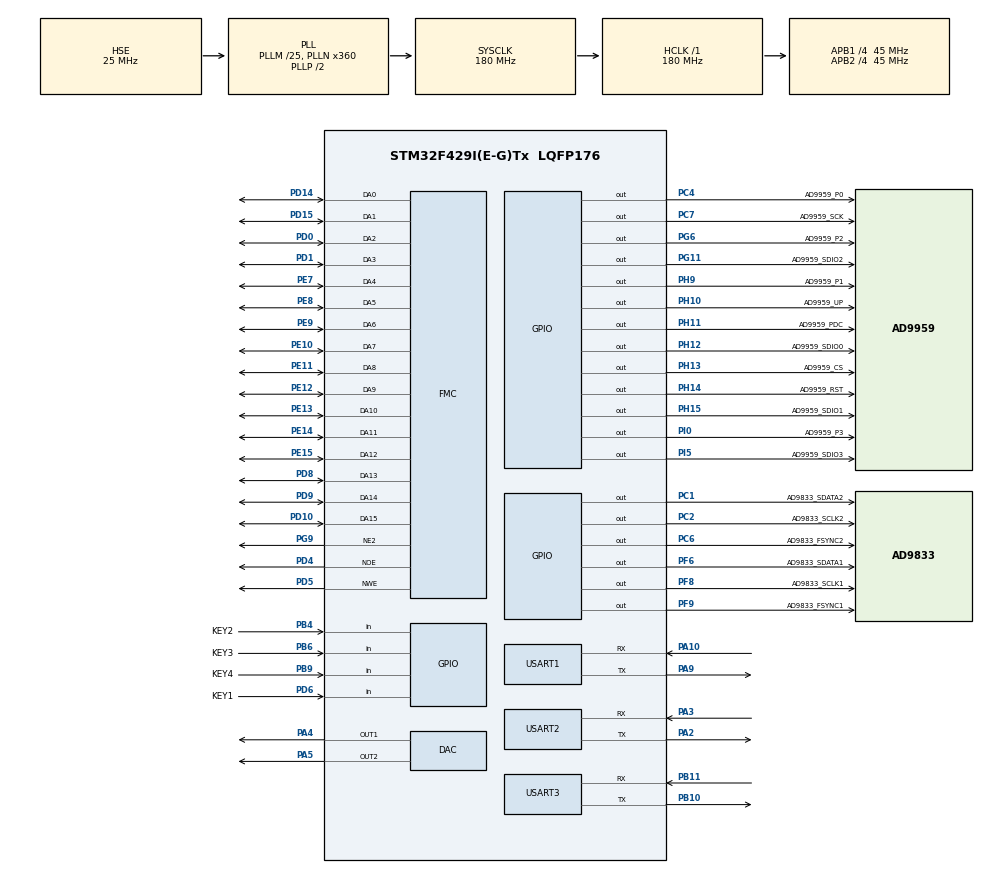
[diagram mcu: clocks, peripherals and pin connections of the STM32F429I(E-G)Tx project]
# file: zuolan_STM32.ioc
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DAC.DAC_OutputBuffer=DAC_OUTPUTBUFFER_ENABLE
DAC.DAC_OutputBuffer2=DAC_OUTPUTBUFFER_ENABLE
FMC.AddressHoldTime2=1
FMC.AddressSetupTime2=3
FMC.BusTurnAroundDuration2=0
FMC.DataSetupTime2=6
FMC.WriteOperation2=FMC_WRITE_OPERATION_ENABLE
Mcu.Family=STM32F4
Mcu.Name=STM32F429I(E-G)Tx
Mcu.Package=LQFP176
NVIC.PriorityGroup=NVIC_PRIORITYGROUP_4
NVIC.USART1_IRQn=true\:0\:0\:false\:false\:true\:true\:true\:true
NVIC.USART2_IRQn=true\:0\:0\:false\:false\:true\:true\:true\:true
NVIC.USART3_IRQn=true\:0\:0\:false\:false\:true\:true\:true\:true
PA10.Mode=Asynchronous
PA10.Signal=USART1_RX
PA13.Mode=Serial_Wire
PA13.Signal=SYS_JTMS-SWDIO
PA14.Mode=Serial_Wire
PA14.Signal=SYS_JTCK-SWCLK
PA2.Mode=Asynchronous
PA2.Signal=USART2_TX
PA3.Mode=Asynchronous
PA3.Signal=USART2_RX
PA4.Signal=COMP_DAC1_group
PA5.Signal=COMP_DAC2_group
PA9.Mode=Asynchronous
PA9.Signal=USART1_TX
PB10.Mode=Asynchronous
PB10.Signal=USART3_TX
PB11.Mode=Asynchronous
PB11.Signal=USART3_RX
PB4.GPIO_Label=KEY2
PB4.GPIO_PuPd=GPIO_PULLUP
PB4.Signal=GPIO_Input
PB6.GPIO_Label=KEY3
PB6.GPIO_PuPd=GPIO_PULLUP
PB6.Signal=GPIO_Input
PB7.Signal=FMC_NL
PB9.GPIO_Label=KEY4
PB9.GPIO_PuPd=GPIO_PULLUP
PB9.Signal=GPIO_Input
PC1.GPIO_Label=AD9833_SDATA2
PC1.Signal=GPIO_Output
PC2.GPIO_Label=AD9833_SCLK2
PC2.Signal=GPIO_Output
PC4.GPIO_Label=AD9959_P0
PC4.GPIO_PuPd=GPIO_PULLUP
PC4.GPIO_Speed=GPIO_SPEED_FREQ_HIGH
PC4.Signal=GPIO_Output
PC6.GPIO_Label=AD9833_FSYNC2
PC6.Signal=GPIO_Output
PC7.GPIO_Label=AD9959_SCK
PC7.GPIO_PuPd=GPIO_PULLUP
PC7.GPIO_Speed=GPIO_SPEED_FREQ_HIGH
PC7.Signal=GPIO_Output
PD0.Signal=FMC_D2_DA2
PD1.Signal=FMC_D3_DA3
PD10.Signal=FMC_D15_DA15
PD14.Signal=FMC_D0_DA0
PD15.Signal=FMC_D1_DA1
PD4.Signal=FMC_NOE
PD5.Signal=FMC_NWE
PD6.GPIO_Label=KEY1
PD6.GPIO_PuPd=GPIO_PULLUP
PD6.Signal=GPIO_Input
PD8.Signal=FMC_D13_DA13
PD9.Signal=FMC_D14_DA14
PE10.Signal=FMC_D7_DA7
PE11.Signal=FMC_D8_DA8
PE12.Signal=FMC_D9_DA9
PE13.Signal=FMC_D10_DA10
PE14.Signal=FMC_D11_DA11
PE15.Signal=FMC_D12_DA12
PE7.Signal=FMC_D4_DA4
PE8.Signal=FMC_D5_DA5
PE9.Signal=FMC_D6_DA6
PF6.GPIO_Label=AD9833_SDATA1
PF6.Signal=GPIO_Output
PF8.GPIO_Label=AD9833_SCLK1
PF8.Signal=GPIO_Output
PF9.GPIO_Label=AD9833_FSYNC1
PF9.Signal=GPIO_Output
PG11.GPIO_Label=AD9959_SDIO2
PG11.GPIO_PuPd=GPIO_PULLUP
PG11.GPIO_Speed=GPIO_SPEED_FREQ_HIGH
PG11.Signal=GPIO_Output
PG6.GPIO_Label=AD9959_P2
PG6.GPIO_PuPd=GPIO_PULLUP
PG6.GPIO_Speed=GPIO_SPEED_FREQ_HIGH
PG6.Signal=GPIO_Output
PG9.Mode=NorPsramChipSelect2_2
PG9.Signal=FMC_NE2
PH0/OSC_IN.Mode=HSE-External-Oscillator
PH0/OSC_IN.Signal=RCC_OSC_IN
PH1/OSC_OUT.Mode=HSE-External-Oscillator
PH1/OSC_OUT.Signal=RCC_OSC_OUT
PH10.GPIO_Label=AD9959_UP
PH10.GPIO_PuPd=GPIO_PULLUP
PH10.GPIO_Speed=GPIO_SPEED_FREQ_HIGH
PH10.Signal=GPIO_Output
PH11.GPIO_Label=AD9959_PDC
PH11.GPIO_PuPd=GPIO_PULLUP
PH11.GPIO_Speed=GPIO_SPEED_FREQ_HIGH
PH11.Signal=GPIO_Output
PH12.GPIO_Label=AD9959_SDIO0
PH12.GPIO_PuPd=GPIO_PULLUP
PH12.GPIO_Speed=GPIO_SPEED_FREQ_HIGH
PH12.Signal=GPIO_Output
PH13.GPIO_Label=AD9959_CS
PH13.GPIO_ModeDefaultOutputPP=GPIO_MODE_OUTPUT_PP
PH13.GPIO_PuPd=GPIO_PULLUP
PH13.GPIO_Speed=GPIO_SPEED_FREQ_HIGH
PH13.PinState=GPIO_PIN_RESET
PH13.Signal=GPIO_Output
PH14.GPIO_Label=AD9959_RST
PH14.GPIO_PuPd=GPIO_PULLUP
PH14.GPIO_Speed=GPIO_SPEED_FREQ_HIGH
PH14.Signal=GPIO_Output
PH15.GPIO_Label=AD9959_SDIO1
PH15.GPIO_PuPd=GPIO_PULLUP
PH15.GPIO_Speed=GPIO_SPEED_FREQ_HIGH
PH15.Signal=GPIO_Output
PH9.GPIO_Label=AD9959_P1
PH9.GPIO_PuPd=GPIO_PULLUP
PH9.GPIO_Speed=GPIO_SPEED_FREQ_HIGH
PH9.Signal=GPIO_Output
PI0.GPIO_Label=AD9959_P3
PI0.GPIO_PuPd=GPIO_PULLUP
PI0.GPIO_Speed=GPIO_SPEED_FREQ_HIGH
PI0.Signal=GPIO_Output
PI5.GPIO_Label=AD9959_SDIO3
PI5.GPIO_PuPd=GPIO_PULLUP
PI5.GPIO_Speed=GPIO_SPEED_FREQ_HIGH
PI5.Signal=GPIO_Output
ProjectManager.HeapSize=0x200
ProjectManager.StackSize=0x400
ProjectManager.TargetToolchain=MDK-ARM V5
RCC.48MHZClocksFreq_Value=90000000
RCC.AHBFreq_Value=180000000
RCC.APB1CLKDivider=RCC_HCLK_DIV4
RCC.APB1Freq_Value=45000000
RCC.APB1TimFreq_Value=90000000
RCC.APB2CLKDivider=RCC_HCLK_DIV4
RCC.APB2Freq_Value=45000000
RCC.APB2TimFreq_Value=90000000
RCC.CortexFreq_Value=180000000
RCC.EnbaleCSS=true
RCC.HCLKFreq_Value=180000000
RCC.HSE_VALUE=25000000
RCC.HSI_VALUE=16000000
RCC.LSE_VALUE=32768
RCC.PLLM=25
RCC.PLLN=360
RCC.PLLSourceVirtual=RCC_PLLSOURCE_HSE
RCC.SYSCLKFreq_VALUE=180000000
RCC.SYSCLKSource=RCC_SYSCLKSOURCE_PLLCLK
RCC.VCOOutputFreq_Value=360000000
SH.COMP_DAC1_group.0=DAC_OUT1,DAC_OUT1
SH.COMP_DAC2_group.0=DAC_OUT2,DAC_OUT2
SH.FMC_D0_DA0.0=FMC_DA0,16b-da2
SH.FMC_D10_DA10.0=FMC_DA10,16b-da2
SH.FMC_D11_DA11.0=FMC_DA11,16b-da2
SH.FMC_D12_DA12.0=FMC_DA12,16b-da2
SH.FMC_D13_DA13.0=FMC_DA13,16b-da2
SH.FMC_D14_DA14.0=FMC_DA14,16b-da2
SH.FMC_D15_DA15.0=FMC_DA15,16b-da2
SH.FMC_D1_DA1.0=FMC_DA1,16b-da2
SH.FMC_D2_DA2.0=FMC_DA2,16b-da2
SH.FMC_D3_DA3.0=FMC_DA3,16b-da2
SH.FMC_D4_DA4.0=FMC_DA4,16b-da2
SH.FMC_D5_DA5.0=FMC_DA5,16b-da2
SH.FMC_D6_DA6.0=FMC_DA6,16b-da2
SH.FMC_D7_DA7.0=FMC_DA7,16b-da2
SH.FMC_D8_DA8.0=FMC_DA8,16b-da2
SH.FMC_D9_DA9.0=FMC_DA9,16b-da2
SH.FMC_NL.0=FMC_NL
SH.FMC_NOE.0=FMC_NOE,MuxedPsram2
SH.FMC_NWE.0=FMC_NWE,MuxedPsram2
STMicroelectronics.X-CUBE-ALGOBUILD.1.4.0.LibraryCcDSPOoLibraryJjDSPOoLibrary=true
USART1.VirtualMode=VM_ASYNC
USART2.VirtualMode=VM_ASYNC
USART3.VirtualMode=VM_ASYNC
VP_STMicroelectronics.X-CUBE-ALGOBUILD_VS_DSPOoLibraryJjLibrary_1.4.0_1.4.0.Mode=DSPOoLibraryJjLibrary
board=custom

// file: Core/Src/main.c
/* USER CODE BEGIN Header */
/**
 ******************************************************************************
 * @file           : main.c
 * @brief          : Main program body
 ******************************************************************************
 * @attention
 *
 * Copyright (c) 2024 STMicroelectronics.
 * All rights reserved.
 *
 * This software is licensed under terms that can be found in the LICENSE file
 * in the root directory of this software component.
 * If no LICENSE file comes with this software, it is provided AS-IS.
 *
 ******************************************************************************
 */
/* USER CODE END Header */
#include "main.h"
#include "dac.h"
#include "usart.h"
#include "gpio.h"
#include "fmc.h"

/* USER CODE BEGIN Includes */

#include "bsp_system.h"
/* USER CODE END Includes */

/* USER CODE BEGIN PD */
#define AD_PRE_SAMPLE_HZ 48000000.0f
#define DA_TEST_OUT_HZ 1000.0f
/* USER CODE END PD */

void SystemClock_Config(void);

int main(void)
{
  /* USER CODE BEGIN 1 */
  uint16_t ASK_amp_ch2[16] = {0, 0, 0, 0, 0, 0, 0, 0, 0, 0, 0, 0, 0, 0, 0, 0};
  /* USER CODE END 1 */

  /* MCU Configuration--------------------------------------------------------*/

  /* Reset of all peripherals, Initializes the Flash interface and the Systick. */
  HAL_Init();

  /* Configure the system clock */
  SystemClock_Config();

  /* Initialize all configured peripherals */
  MX_GPIO_Init();
  MX_FMC_Init();
  MX_USART1_UART_Init();
  MX_USART2_UART_Init();
  MX_USART3_UART_Init();
  MX_DAC_Init();
  /* USER CODE BEGIN 2 */
  HAL_UART_Receive_IT(&huart1, &rxTemp1, 1);
  HAL_UART_Receive_IT(&huart2, &rxTemp2, 1);
  HAL_UART_Receive_IT(&huart3, &rxTemp3, 1);
  CTRL_INIT();
  DA_Init();
  DA_Apply_Settings();

  PID_Init();
  fft_init();

  /* --- AD9959 初始化与配置流程 --- */

  // 1. 初始化AD9959芯片 (复位, 设置PLL倍频及基础工作模式)
  AD9959_Init();

  // 2. 初始化通道2的调制功能：设置??电平(LEVEL_MOD_2), ASK模式(MOD_ASK)
  //    注意: 新版函数参数顺序已调整，且无需传入 SWEEP_DISABLE
  AD9959_Modulation_Init(CH2_SELECT, LEVEL_MOD_2, MOD_ASK);

  // 3. 设置ASK调制的两个幅度??
  //    当Profile引脚(P2)为低电平时，输出基准幅度，代表逻辑'0'
  ASK_amp_ch2[0] = 0;
  //    当Profile引脚(P2)为高电平时，切换到Profile 0，输出此幅度，代表逻辑'1'
  ASK_amp_ch2[1] = 1023; // 使用最大幅??023以获得最佳信噪比

  // 4. 设置ASK参数：为通道2配置1000Hz的载波，并应用上面的幅度设置
  //    注意：新版函数参数顺序为 (通道, 频率, 幅度数组)
  //    该函数会自动??ASK_amp_ch2[0] 设为基准幅度, ASK_amp_ch2[1] 设为Profile 0的幅度??
  AD9959_Set_ASK(CH2_SELECT, 1000, ASK_amp_ch2);

  AD9833_Setup(AD9833_REG_FREQ0, 30000.0, AD9833_REG_PHASE1, 1024, AD9833_OUT_TRIANGLE);
  AD9833_Setup2(AD9833_REG_FREQ0, 30000.0, AD9833_REG_PHASE1, 2048, AD9833_OUT_TRIANGLE);
  my_printf(&huart1, "ok!\r\n");

  scheduler_init();
  /* USER CODE END 2 */

  /* Infinite loop */
  while (1)
  {

    /* USER CODE BEGIN 3 */

    scheduler_run();

//		vpp_adc_parallel(AD_PRE_SAMPLE_HZ, FREQ_MODE_SAMPLING,
//                     0.0f,      FREQ_MODE_SAMPLING);

//    my_printf(&huart1, "AD1 Vpp=%f, AD2 Vpp=%f\r\n", vol_amp1, vol_amp2);

//    vpp_adc_parallel(AD_PRE_SAMPLE_HZ, FREQ_MODE_SAMPLING, AD_PRE_SAMPLE_HZ, FREQ_MODE_SAMPLING);
//    my_printf(&huart1, "AD1 Vpp=%f, AD2 Vpp=%f\r\n", vol_amp1, vol_amp2);
//

    fre_measure_ad1();
    fre_measure_ad2();

    my_printf(&huart1, "freq1=%f Hz, freq2=%f Hz\r\n", freq1, freq2);
    my_printf(&huart1, "raw: ad1=%lu base1=%lu ad2=%lu base2=%lu\r\n",
              freq_ad1, freq_base1, freq_ad2, freq_base2);

    vpp_adc_parallel(freq1, FREQ_MODE_SIGNAL,
                     freq2, FREQ_MODE_SIGNAL);

    my_printf(&huart1, "after auto sample: Vpp1=%f, Vpp2=%f\r\n",
              vol_amp1, vol_amp2);
  }
  /* USER CODE END 3 */
}

void SystemClock_Config(void)
{
  RCC_OscInitTypeDef RCC_OscInitStruct = {0};
  RCC_ClkInitTypeDef RCC_ClkInitStruct = {0};

  /** Configure the main internal regulator output voltage
   */
  __HAL_RCC_PWR_CLK_ENABLE();
  __HAL_PWR_VOLTAGESCALING_CONFIG(PWR_REGULATOR_VOLTAGE_SCALE1);
  /** Initializes the RCC Oscillators according to the specified parameters
   * in the RCC_OscInitTypeDef structure.
   */
  RCC_OscInitStruct.OscillatorType = RCC_OSCILLATORTYPE_HSE;
  RCC_OscInitStruct.HSEState = RCC_HSE_ON;
  RCC_OscInitStruct.PLL.PLLState = RCC_PLL_ON;
  RCC_OscInitStruct.PLL.PLLSource = RCC_PLLSOURCE_HSE;
  RCC_OscInitStruct.PLL.PLLM = 25;
  RCC_OscInitStruct.PLL.PLLN = 360;
  RCC_OscInitStruct.PLL.PLLP = RCC_PLLP_DIV2;
  RCC_OscInitStruct.PLL.PLLQ = 4;
  if (HAL_RCC_OscConfig(&RCC_OscInitStruct) != HAL_OK)
  {
    Error_Handler();
  }
  /** Activate the Over-Drive mode
   */
  if (HAL_PWREx_EnableOverDrive() != HAL_OK)
  {
    Error_Handler();
  }
  /** Initializes the CPU, AHB and APB buses clocks
   */
  RCC_ClkInitStruct.ClockType = RCC_CLOCKTYPE_HCLK | RCC_CLOCKTYPE_SYSCLK | RCC_CLOCKTYPE_PCLK1 | RCC_CLOCKTYPE_PCLK2;
  RCC_ClkInitStruct.SYSCLKSource = RCC_SYSCLKSOURCE_PLLCLK;
  RCC_ClkInitStruct.AHBCLKDivider = RCC_SYSCLK_DIV1;
  RCC_ClkInitStruct.APB1CLKDivider = RCC_HCLK_DIV4;
  RCC_ClkInitStruct.APB2CLKDivider = RCC_HCLK_DIV4;

  if (HAL_RCC_ClockConfig(&RCC_ClkInitStruct, FLASH_LATENCY_5) != HAL_OK)
  {
    Error_Handler();
  }
  /** Enables the Clock Security System
   */
  HAL_RCC_EnableCSS();
}

void Error_Handler(void)
{
  __disable_irq();
  while (1)
  {
  }
}

/************************ (C) COPYRIGHT STMicroelectronics *****END OF FILE****/
